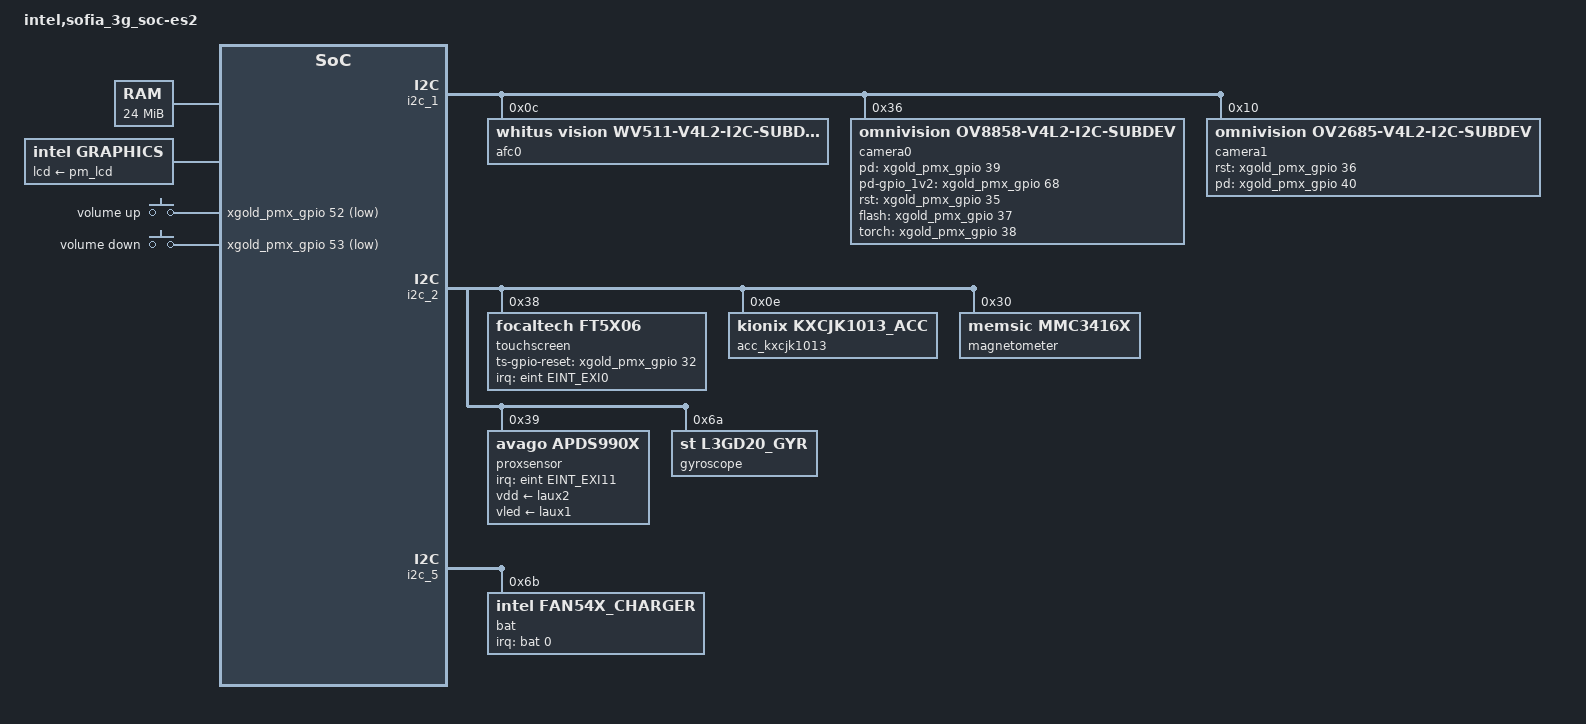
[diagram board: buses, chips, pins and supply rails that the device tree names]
/dts-v1/;
#define SOFIA3G_MRD5S
#include "xgold/sofia_3g_soc/irq.h"

/ {
	#address-cells = <1>;
	#size-cells = <1>;
	model = "intel,sofia_3g_soc-es2";
	compatible = "intel,sofia_3g_soc-svb", "intel,xgold";

	#include "xgold/sofia_3g_soc/sofia_3g_soc.dtsi"
	#include "xgold/sofia_3g_soc/irq.dtsi"
	#include "xgold/mobilevisor/mobilevisor.dtsi"
	#include "xgold/sofia_3g_soc/clock-es2.dtsi"
	#include "xgold/sofia_3g_soc/regulator.dtsi"
	#include "xgold/sofia_3g_soc/device-pm-reg.dtsi"
	#include "xgold/sofia_3g_soc/cpufreq.dtsi"

	chosen {
	};

	aliases {
	};

	memory {
		device_type = "memory";
		reg = <0x800000 0x1800000>;
	};

	reserved-memory {
		#address-cells = <1>;
		#size-cells = <1>;
		ranges;

		/* global autoconfigured region for contiguous allocations */
		cma_default_region: region@0 {
			size = <0x09000000>;
			limit = <0x00000000>;
			linux,cma-default;
		};
		/* special region for secured processing devices */
		secured_region: region@8000000 {
			reg = <0x08000000 0x08000000>;
			no-map;
			linux,cma;
		};
	};

	vmodem {
		compatible = "intel,vmodem";
		reg = < 0x1D000000 0x02C00000 >;
	};

	ion {
		compatible = "intel,ion";
#ifndef RECOVERY_KERNEL
		secvm-handler;
#endif
		cma-heap {
			memory-region = <&cma_default_region>;
		};
		secured-heap {
			memory-region = <&secured_region>;
		};
	};

	backlight:agold620-backlight {
		compatible = "intel,agold620-led";
		reg = <0xE6501800 0x154>;
		reg-names = "pmu-bl";
		intel,flags-use-safe-ctrl;
		intel,vmm-secured-access;
		pm,class-name = "bl_class";
		pm,user-name = "bl";
		pm,state-D0 = "enable";
		pm,state-D3 = "disable";
		intel,led-k2 = <0x143>;
		intel,led-k1max = <0x120>;
		intel,led-k2max = <0xFFFF>;
		intel,led-up = <0x10104>;
		intel,led-down = <0x200>;
		intel,led-safe = <0x12>;
	};

	graphics {
		compatible = "intel,graphics";
		intel,gpu-shared-mem = <0x20000000>;
		intel,dcc-fbpixelformat= "RGB888";
		intel,dcc-debug-level = <1>;
		intel,fb-api = <1>;
#ifdef RECOVERY_KERNEL
		intel,dcc-mem = < 0x00800000 >;
#else
		intel,dcc-use-fences = <1>;
		intel,dcc-mem = < 0x00400000 >;
		intel,prot-mem = < 0x08000000 0x08000000>;
#endif
		intel,display-fps = <60>;
		intel,display-ramless = <1>;
		intel,display-preinit = <0>;
		intel,display-if = <&mipi_dsi>;
		intel,display-if-rate = <408000000>;
		lcd-supply = <&pm_lcd>;
		/include/ "xgold/display/OTM1284.dtsi"
		mipi_dsi:mipi-dsi {
				intel,display-if-min = <104000000>;
				intel,display-if-max = <550000000>;
				intel,display-if-nblanes = <4>;
				intel,display-if-phy-pwup = <6>;
				intel,display-if-phy-calib = <3>;
				intel,display-if-phy-to_lp_hs_req = <24>;
				intel,display-if-phy-to_lp_hs_dis = <25>;
				intel,display-if-phy-to_lp_hs_eot = <60>;
				intel,display-if-phy-to_hs_zero = <8>;
				intel,display-if-phy-to_hs_flip = <24>;
				intel,display-if-phy-lp_clk_div = <31>;
				intel,display-if-phy-to_hs_clk_pre = <36>;
				intel,display-if-phy-to_hs_clk_post = <42>;
				intel,display-if-phy-data_delay = <7>;
				intel,display-if-phy-clock_delay = <7>;
				intel,display-if-phy-lp_tx_tfall = <2>;
				intel,display-if-phy-lp_tx_rise = <2>;
				intel,display-if-phy-lp_tx_vref = <31>;
		};
	};

#ifndef RECOVERY_KERNEL
	sound:sound {
		compatible = "intel,xgold-snd-asoc";
		intel,audio-codec = < &afe >;
		intel,pcm-audio = <&pcm_music>;
		intel,pcm-voice = <&pcm_voice>;
		intel,speech = <&speech_probe>;
		intel,jack = <&headset>;
	};
#endif
	gpio_keys:gpio_keys {
		compatible = "gpio-keys";
		#address-cells = < 0 >;
		interrupt-parent = <&gpio_keys>;
		interrupts = < 0 1 >;
		#interrupt-cells = < 1 >;
		interrupt-map = <
			0 &eint EINT_EXI14 XGOLD_IRQ_TYPE_EDGE_BOTH
			1 &eint EINT_EXI8 XGOLD_IRQ_TYPE_EDGE_BOTH
		>;
		autorepeat;
		button@1 {
			label = "volume up";
			linux,code = <115>;
			gpios = <&xgold_pmx_gpio 52 1>;
		};
		button@2 {
			label = "volume down";
			linux,code = <114>;
			gpios = <&xgold_pmx_gpio 53 1>;
		};
	};
};

&eint {
	/* intel,virq,x = <0>; means EINTx is owned & requested by IRQ framework */
	intel,virq,0 = <0>; /* EINT_EXI0: TOUCH */
	intel,virq,1 = <0>; /* EINT_EXI1: ??? */
	intel,virq,2 = <0>; /* EINT_EXI2: ??? */
	intel,virq,3 = <1>; /* EINT_EXI3 */
	intel,virq,4 = <1>; /* EINT_EXI4 */
	intel,virq,5 = <1>; /* EINT_EXI5 */
	intel,virq,6 = <1>; /* EINT_EXI6 */
	intel,virq,7 = <1>; /* EINT_EXI7 */
	intel,virq,8 = <0>; /* EINT_EXI8: SD-DET+KEYBOARD? */
	intel,virq,9 = <1>; /* EINT_EXI9 */
	intel,virq,10 = <1>; /* EINT_EXI10 */
	intel,virq,11 = <0>; /* EINT_EXI11: PROX */
	intel,virq,12 = <0>; /* EINT_EXI12: ??? */
	intel,virq,13 = <1>; /* EINT_EXI13 */
	intel,virq,14 = <0>; /* EINT_EXI14: KEYBOARD */
	intel,virq,15 = <1>; /* EINT_EXI15 */
	intel,virq,16 = <0>; /* EINT_USB_HS_RESUME */
	intel,virq,17 = <0>; /* EINT_SDMMC_DETECT */
	intel,virq,18 = <1>; /* EINT_SDIO_DAT3 */
	intel,virq,19 = <1>; /* EINT_SDIO_DAT1 */
	intel,virq,20 = <0>; /* EINT_USIF1_WK */
	intel,virq,21 = <1>; /* EINT_USIF2_WK */
	intel,virq,22 = <1>; /* EINT_WUP_DBB */
	intel,virq,23 = <1>; /* EINT_U2H */
	intel,virq,24 = <1>; /* EINT_G3FP */
	intel,virq,25 = <1>; /* EINT_DTXS */
	intel,virq,26 = <1>; /* EINT_DRXS */
	intel,virq,27 = <1>; /* EINT_WDT0 */
	intel,virq,28 = <1>; /* EINT_WDT1 */
	intel,virq,29 = <0>; /* EINT_USB_ID */

	intel,preack,8 = <1>; /* EINT_EXI8 */
	intel,preack,20 = <1>; /* EINT_USIF1_WK */
};

&idi_per {
	#include "xgold/agold620/agold620.dtsi"
};

&bat_hal {
	#define BAT_TYPE_LC 0
	#define POWER_SUPPLY_TECHNOLOGY_LION 2

	supp_batids =  < 0 BAT_TYPE_LC >;

	supp_batids-map = "standrd";

	prof-standrd = < POWER_SUPPLY_TECHNOLOGY_LION /*battery_type*/
				  2300 /*capacity*/
				  4350 /*voltage_max*/
				  82 /*chrg_term_ma*/
				  3000 /*low_batt_mv*/
				  60 /*disch_tmp_ul*/
				  0xffffffec /*disch_tmp_ll (-20)*/
				  0 /*min_temp*/
				  3 /*min_temp_restart*/
				  42 /*max_temp_restart*/ >;

	prof-standrd-cap_to_vbat_ocv = <
		3012 3324 3457 3542 3604 3647 3665 3672 3676 3680
		3684 3687 3691 3697 3705 3714 3721 3729 3736 3742
		3747 3753 3757 3761 3764 3767 3769 3772 3774 3776
		3778 3780 3783 3785 3788 3791 3794 3797 3801 3804
		3808 3812 3816 3820 3824 3829 3833 3838 3843 3849
		3855 3861 3867 3874 3882 3890 3898 3906 3914 3922
		3930 3939 3947 3956 3964 3972 3981 3989 3998 4007
		4017 4027 4037 4047 4057 4067 4077 4087 4098 4108
		4119 4130 4141 4152 4164 4175 4187 4198 4210 4222
		4234 4245 4257 4269 4282 4294 4306 4316 4325 4335
		4345 >;

	prof-standrd-ntemp_ranges = <1>;

	prof-standrd-temp_range0 = < 45 /*max_temp*/
					     4160 /*full_chrg_vol*/
					     850 /*full_chrg_cur*/
					     98 /*charging_res_cap*/
					     4160 /*maint_chrg_vol_ul*/
					     850 /*maint_chrg_cur*/ >;

	nprofiles = <1>;
};

&fuel_gauge_hal {
	sense_resistor_mohm = <20>;
	gain_error_1_uc_per_mc = <30>;
	gain_error_2_uc_per_mc = <30>;
};

&dcc {
	pinctrl-names = "default", "sleep", "inactive";
	pinctrl-0 = <&dif_default_pins>;
	pinctrl-1 = <&dif_sleep_pins>;
	pinctrl-2 = <&dif_inactive_pins>;
};

&usif1 {
	pinctrl-names = "default", "sleep", "inactive";
	pinctrl-0 = <&usif1_default_pins>;
	pinctrl-1 = <&usif1_sleep_pins>;
	pinctrl-2 = <&usif1_inactive_pins>;
};

&usif2 {
	pinctrl-names = "default", "sleep", "inactive";
	pinctrl-0 = <&usif2_function_B_active_pins>;
	pinctrl-1 = <&usif2_function_B_sleep_pins>;
	pinctrl-2 = <&usif2_function_B_inactive_pins>;
};

&i2c_1 {
	pinctrl-names = "default", "sleep", "inactive";
	pinctrl-0 = <&i2c1_default_pins>;
	pinctrl-1 = <&i2c1_sleep_pins>;
	pinctrl-2 = <&i2c1_inactive_pins>;

#ifndef RECOVERY_KERNEL
	afc0: af-controller@0 {
		compatible = "whitus vision,wv511-v4l2-i2c-subdev";
		reg = < 0x0C >;
	};

	camera0: camera-module@0 {
		compatible = "omnivision,OV8858-v4l2-i2c-subdev";
		reg = < 0x36 >;
		device_type = "v4l2-i2c-subdev";

		pinctrl-names = "default", "sleep", "inactive";
		pinctrl-0 = <&cam1_default_pins>;
		pinctrl-1 = <&cam1_sleep_pins>;
		pinctrl-2 = <&cam1_inactive_pins>;

		intel,pd-gpio = <&xgold_pmx_gpio 39 0>;
		intel,pd-gpio_1v2 = <&xgold_pmx_gpio 68 0>;
		intel,pd-gpio-is_active_low;
		intel,rst-gpio = <&xgold_pmx_gpio 35 0>;
		intel,rst-gpio-is_active_low;
		intel,flash-gpio = <&xgold_pmx_gpio 37 0>;
		intel,torch-gpio = <&xgold_pmx_gpio 38 0>;
		intel.flash-driver = "FP6773C";

		pm,class-name = "generic_class";
		pm,user-name = "primcam";
		pm,state-D0 = "enable";
		pm,state-D3 = "disable";

		/* ["front","back"] */
		intel,camera-module-facing = "back";
		/* ["landscape","landscape-flipped","portrait","portrait-flipped"] */
		intel,camera-module-mounting = "landscape";
		intel,camera-module-flash-support = <1>;
		intel,camera-module-flash-exp-time = <5000>;

		intel,af-ctrl = <&afc0>;

		intel,camera-module-csi-config-0 {
			intel,csi-pixels-per-second = <0>;
			intel,csi-vc = <0>;
			intel,csi-lanes = <4>;
			intel,csi-dphy1 = <0x600E1C1>;
			intel,csi-dphy2 = <0x00>;
			intel,csi-ana-bandgap-bias = <3>;
		};
	};
#endif
#ifndef RECOVERY_KERNEL
	camera1: camera-module@1 {
		compatible = "omnivision,ov2685-v4l2-i2c-subdev";
		reg = < 0x10 >;
		device_type = "v4l2-i2c-subdev";

		pinctrl-names = "default", "sleep", "inactive";
		pinctrl-0 = <&cam2_default_pins>;
		pinctrl-1 = <&cam2_sleep_pins>;
		pinctrl-2 = <&cam2_inactive_pins>;

		intel,rst-gpio = <&xgold_pmx_gpio 36 0>;
		intel,rst-gpio-is_active_low;
		intel,pd-gpio = <&xgold_pmx_gpio 40 0>;
		intel,pd-gpio-is_active_low;

		pm,class-name = "generic_class";
		pm,user-name = "seccam";
		pm,state-D0 = "enable";
		pm,state-D3 = "disable";

		intel,camera-module-facing = "front";
		/* ["landscape","landscape-flipped","portrait","portrait-flipped"] */
		intel,camera-module-mounting = "landscape";
		intel,camera-module-flash-support = <1>;
		intel,camera-module-flash-exp-time = <5000>;

		intel,camera-module-csi-config-0 {
			intel,csi-pixels-per-second = <0>;
			intel,csi-vc = <0>;
			intel,csi-lanes = <1>;
			intel,csi-dphy1 = <0x60121A9>;
			intel,csi-dphy2 = <0x00>;
			intel,csi-ana-bandgap-bias = <3>;
		};

	};
#endif
};

&i2c_2 {
	pinctrl-names = "default", "sleep", "inactive";
	pinctrl-0 = <&i2c2_default_pins>;
	pinctrl-1 = <&i2c2_sleep_pins>;
	pinctrl-2 = <&i2c2_inactive_pins>;

#ifndef RECOVERY_KERNEL
	touchscreen {
		compatible = "focaltech,ft5x06";
		reg = < 0x38 >;
		interrupt-parent = <&eint>;
		interrupts = < EINT_EXI0 XGOLD_IRQ_TYPE_EDGE_FALLING >;
		pinctrl-names = "default", "sleep", "inactive";
		pinctrl-0 = <&touch_default_pins>;
		pinctrl-1 = <&touch_sleep_pins>;
		pinctrl-2 = <&touch_inactive_pins>;
		intel,ts-gpio-reset = <&xgold_pmx_gpio 32 0>;
		intel,x_pos_max = < 720 >;
		intel,x_pos_min = < 0 >;
		intel,y_pos_max = < 1280 >;
		intel,y_pos_min = < 0 >;
		intel,screen_max_y = < 1280 >;
		intel,screen_max_x = < 720 >;
		intel,key_y = < 1320 >;
		intel,key_back = < 400 >;
		intel,key_menu = < 80 >;
		intel,key_home = < 240 >;
		pm,class-name = "ft5x0x_class";
		pm,user-name = "tp";
		pm,state-D0 = "enable";
		pm,state-D3 = "disable";
	};
#endif

#ifndef RECOVERY_KERNEL
	acc_kxcjk1013 {
		compatible = "kionix,kxcjk1013_acc";
		reg = < 0xE >;
		intel,acc-direction = < 1 >;
		intel,poll-interval = < 100 >;
		pinctrl-names = "default", "sleep", "inactive";
		pinctrl-0 = <&accel_default_pins>;
		pinctrl-1 = <&accel_sleep_pins>;
		pinctrl-2 = <&accel_inactive_pins>;
		pm,class-name = "lsm303dlhc_acc_class";
		pm,user-name = "accelerometer";
		pm,state-D0 = "enable";
		pm,state-D3 = "disable";
	};
#endif
#ifndef RECOVERY_KERNEL
	magnetometer {
		compatible = "memsic,mmc3416x";
		reg = < 0x30 >;
		intel,axis-map = < 0 1 2 >;
		intel,negate = < 0 0 0 >;
		intel,offset = < 0 0 0 >;
		intel,poll-interval = < 100 >;
		pm,class-name = "mmc3416x_class";
		pm,user-name = "compass";
		pm,state-D0 = "enable";
		pm,state-D3 = "disable";
	};
#endif
#ifndef RECOVERY_KERNEL
	proxsensor {
		compatible = "avago,apds990x";
		reg = < 0x39 >;
		interrupt-parent = <&eint>;
		interrupts = < EINT_EXI11 XGOLD_IRQ_TYPE_EDGE_FALLING >;
		pinctrl-names = "default", "sleep", "inactive";
		pinctrl-0 = <&prox_default_pins>;
		pinctrl-1 = <&prox_sleep_pins>;
		pinctrl-2 = <&prox_inactive_pins>;
		intel,pdrive = /bits/ 8 < 64 >;
		intel,ppcount = /bits/ 8 < 64 >;
		intel,als-gain = < 713 >;
		intel,coeff-B = < 204 >;
		intel,coeff-C = < 98 >;
		intel,coeff-D = < 197 >;
		vdd-supply = <&laux2>;
		vled-supply = <&laux1>; /* VBAT in fact, but since VBAT is not controllable, and VAUX1 is required for INT pull up, assigned VAUX1 to VLED instead. */
		pm,class-name = "apds990x_class";
		pm,user-name = "proximity";
		pm,state-D0 = "enable";
		pm,state-D3 = "disable";
	};
#endif
#ifndef RECOVERY_KERNEL
	gyroscope {
		compatible = "st,l3gd20_gyr";
		reg = < 0x6a >;
		pinctrl-names = "default", "sleep", "inactive";
		pinctrl-0 = <&gyroscope_default_pins>;
		pinctrl-1 = <&gyroscope_sleep_pins>;
		pinctrl-2 = <&gyroscope_inactive_pins>;
		intel,axis-map = < 0 1 2 >;
		intel,negate = < 0 0 0 >;
		intel,poll-interval = < 100 >;
		intel,full-scale = < 2000 >;
		pm,class-name = "l3gd20_class";
		pm,user-name = "gyroscope";
		pm,state-D0 = "enable";
		pm,state-D3 = "disable";
	};
#endif
};

&i2c_5 {
	pinctrl-names = "default", "sleep", "inactive";
	pinctrl-0 = <&i2c5_agold_default_pins>;
	pinctrl-1 = <&i2c5_agold_sleep_pins>;
	pinctrl-2 = <&i2c5_agold_inactive_pins>;
	bat:battery {
		compatible = "intel,fan54x_charger";
		reg = < 0x6b >;
		interrupts = < 0 >;
		interrupt-parent = < &bat>;
		#interrupt-cells = < 1 >;
		interrupt-map = < 0 &ag620_pmu ABB_PMU_CI XGOLD_IRQ_TYPE_NONE >; /* CI */
		pinctrl-names = "default", "sleep", "inactive", "active";
		pinctrl-0 = < &chgreset_agold_default_pins >;
		pinctrl-1 = < &chgreset_agold_sleep_pins >;
		pinctrl-2 = < &chgreset_agold_inactive_pins >;
		pinctrl-3 = < &chgreset_agold_active_pins >;
	};
};

&gnss {
	pinctrl-names = "default", "sleep", "inactive";
	pinctrl-0 = <&tcxo_agold_default_pins>;
	pinctrl-1 = <&tcxo_agold_sleep_pins>;
	pinctrl-2 = <&tcxo_agold_inactive_pins>;
};

&backlight {
	pinctrl-names = "default", "sleep", "inactive";
	pinctrl-0 = <&cabc_agold_default_pins>;
	pinctrl-1 = <&cabc_agold_sleep_pins>;
	pinctrl-2 = <&cabc_agold_inactive_pins>;
};

#ifndef RECOVERY_KERNEL
&afe {
	pinctrl-names = "default", "sleep", "inactive";
	pinctrl-0 = <&dm_agold_default_pins>;
	pinctrl-1 = <&dm_agold_sleep_pins>;
	pinctrl-2 = <&dm_agold_inactive_pins>;
};
#endif

&sd {
	intel,tap_values = <0x080400F5 0x08040004 0x00040004 0x08040004 0x5CF501A5 0x00F500A5 0x00F500A5>;
	pinctrl-names = "default", "sleep", "inactive";
	pinctrl-0 = <&sdmmc_default_pins>;
	pinctrl-1 = <&sdmmc_sleep_pins>;
	pinctrl-2 = <&sdmmc_inactive_pins>;
};

&emmc {
	intel,tap_values = <0x080400F5 0x08040004 0x00040004 0x08040004 0x08040004 0x000400B5 0x000400B5>;
	pinctrl-names = "default", "sleep", "inactive";
	pinctrl-0 = <&emmc_default_pins>;
	pinctrl-1 = <&emmc_sleep_pins>;
	pinctrl-2 = <&emmc_inactive_pins>;

};

&keypad {
	pinctrl-names = "default", "sleep", "inactive";
	pinctrl-0 = <&kp_default_pins>;
	pinctrl-1 = <&kp_sleep_pins>;
	pinctrl-2 = <&kp_inactive_pins>;
	keypad,num-rows = <3>;
	keypad,num-columns = <8>;
	keypad,rows = <0 2>;
	keypad,columns = <0 1 2>;
	linux,keymap = <0x00000073	/* KEY_VOLUMEUP */
			0x00010066	/* KEY_HOME */
			0x00020000	/* KEY_RESERVED */
			0x00030000	/* KEY_RESERVED */
			0x00040000	/* KEY_RESERVED */
			0x00050000	/* KEY_RESERVED */
			0x00060000	/* KEY_RESERVED */
			0x00070000	/* KEY_RESERVED */
			0x01000000	/* KEY_RESERVED */
			0x01010000	/* KEY_RESERVED */
			0x01020000	/* KEY_RESERVED */
			0x01030000	/* KEY_RESERVED */
			0x01040000	/* KEY_RESERVED */
			0x01050000	/* KEY_RESERVED */
			0x01060000	/* KEY_RESERVED */
			0x01070000	/* KEY_RESERVED */
			0x02000072	/* KEY_VOLUMEDOWN */
			0x02010000	/* KEY_RESERVED */
			0x02020000>;	/* KEY_RESERVED */
};

#ifndef RECOVERY_KERNEL
&cif {
	intel,camera-modules-attached = <&camera0 &camera1>;
};
#endif

#include "xgold/agold620/pinctrl-sf_3g-es2-svb.dtsi"
#include "xgold/sofia_3g_soc/pinctrl-sf_3g-es2-svb.dtsi"
